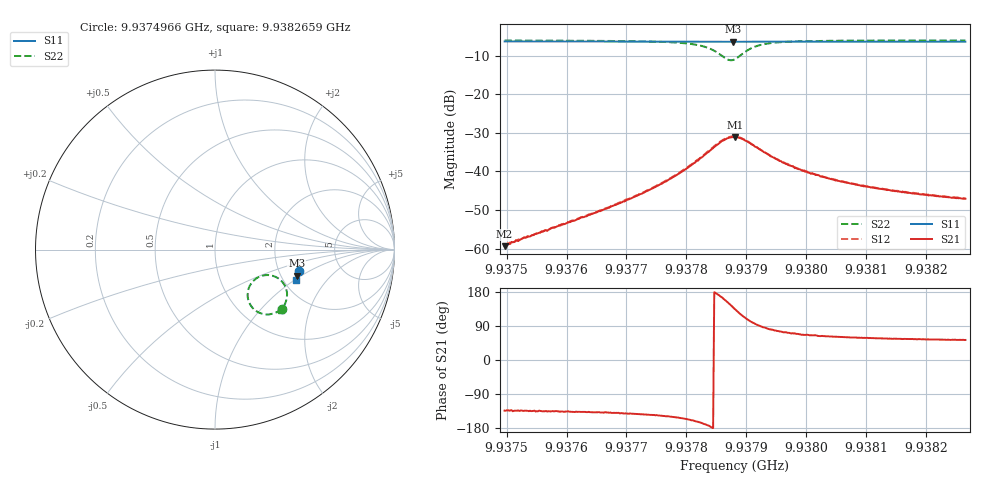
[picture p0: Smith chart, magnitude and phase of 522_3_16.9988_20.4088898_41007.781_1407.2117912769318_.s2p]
#  HZ  S  RI  R  50.00
! Rohde & Schwarz Vector Network Analyzer
! Rohde-Schwarz,ZNB20-2Port,1311601062101988,3.16
! Created: UTC 3/20/2024, 11:15:27 PM
! freq[Hz]  re:S11  im:S11  re:S21  im:S21  re:S12  im:S12  re:S22  im:S22
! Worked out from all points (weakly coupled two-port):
!   401 points, 9.9374966 GHz to 9.9382659 GHz, reference 50 ohm
!   highest |S21| = -31.10 dB at 9.9378813 GHz (marker M1); lowest = -59.4 dB at 9.9374966 GHz (marker M2)
!   lowest |S11| = -6.4 dB at 9.9378774 GHz (marker M3), VSWR 2.83, Z = 122 - j45.5 ohm
!   |S11| at or under -10 dB: nowhere
!   |S22| runs from -11.2 to -6.1 dB; largest |S21 - S12| = 0.0012
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9.93749665e9  0.4673 -0.1213  -0.000741 -0.000778  -0.000794 -0.000811  0.3708 -0.3302
9.93754472e9  0.4661 -0.1245  -0.00105 -0.00107  -0.00106 -0.00106  0.3659 -0.3339
9.93762549e9  0.4642 -0.13  -0.00186 -0.00173  -0.00188 -0.00171  0.3549 -0.3421
9.93769472e9  0.4624 -0.1346  -0.00316 -0.00258  -0.00321 -0.00259  0.3401 -0.3505
9.93775434e9  0.461 -0.1387  -0.00556 -0.00368  -0.0057 -0.00366  0.3163 -0.3584
9.9377928e9  0.4598 -0.1413  -0.00892 -0.0044  -0.00917 -0.00435  0.2866 -0.3615
9.93781588e9  0.4586 -0.1429  -0.0127 -0.0042  -0.013 -0.00413  0.2566 -0.3557
9.93783319e9  0.4576 -0.1439  -0.0168 -0.00277  -0.0172 -0.00251  0.2246 -0.3385
9.93784665e9  0.4568 -0.1446  -0.0207 0.000376  -0.0212 0.000911  0.1974 -0.3079
9.93786011e9  0.4559 -0.1448  -0.024 0.00668  -0.0241 0.00739  0.1819 -0.2531
9.93786972e9  0.4555 -0.1446  -0.0236 0.0131  -0.0238 0.014  0.1927 -0.2038
9.93787742e9  0.4555 -0.1444  -0.0212 0.018  -0.0212 0.0189  0.2196 -0.1689
9.93788126e9  0.4556 -0.1444  -0.0193 0.02  -0.019 0.021  0.2376 -0.156
9.93789088e9  0.4559 -0.1446  -0.0135 0.0233  -0.013 0.0239  0.288 -0.142
9.93790434e9  0.4567 -0.1451  -0.00593 0.0229  -0.00517 0.0233  0.3461 -0.1563
9.93792549e9  0.457 -0.147  0.000512 0.0186  0.00109 0.0188  0.389 -0.2009
9.93794857e9  0.4568 -0.149  0.00306 0.0145  0.00346 0.0142  0.4009 -0.2391
9.93796588e9  0.4564 -0.1503  0.0036 0.012  0.00404 0.0119  0.4014 -0.2585
9.93801011e9  0.4554 -0.1536  0.00396 0.00854  0.00413 0.0085  0.3957 -0.2884
9.93806395e9  0.4541 -0.1573  0.00357 0.00629  0.00374 0.00631  0.3873 -0.3075
9.93813895e9  0.4521 -0.1622  0.00317 0.00478  0.00328 0.00478  0.3779 -0.3225
9.93826588e9  0.4486 -0.1704  0.00266 0.00352  0.00275 0.00353  0.3657 -0.3369
